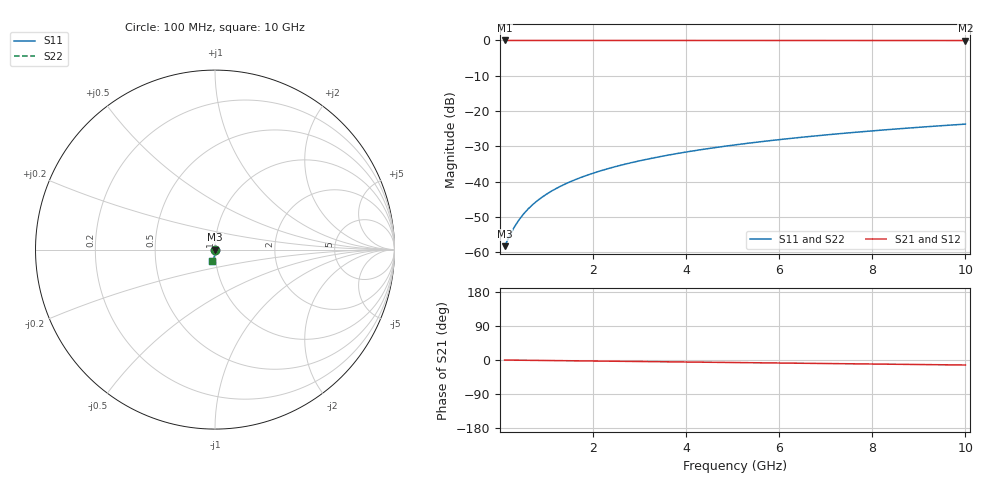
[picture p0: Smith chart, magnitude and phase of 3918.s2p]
# Hz S RI R 50.00
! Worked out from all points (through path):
!   100 points, 100 MHz to 10 GHz, reference 50 ohm
!   highest |S21| = -0.01 dB at 100 MHz (marker M1); lowest = 0.0 dB at 10 GHz (marker M2)
!   group delay of S21, straight-line fit = 3.68 ps
!   lowest |S11| = -58.2 dB at 100 MHz (marker M3), VSWR 1.00, Z = 50.1 - j0.0662 ohm
!   |S11| at or under -10 dB: start of sweep to end of sweep
!   |S22| runs from -58.2 to -23.7 dB; largest |S21 - S12| = 0
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1e8  0.00103 -0.000661  0.999 -0.00231  0.999 -0.00231  0.00103 -0.000661
2e8  0.00103 -0.00132  0.9989 -0.00462  0.9989 -0.00462  0.00103 -0.00132
3e8  0.00103 -0.00198  0.9989 -0.00693  0.9989 -0.00693  0.00103 -0.00198
4e8  0.00102 -0.00264  0.9989 -0.00923  0.9989 -0.00923  0.00102 -0.00264
5e8  0.00101 -0.0033  0.9989 -0.0115  0.9989 -0.0115  0.00101 -0.0033
6e8  0.000995 -0.00396  0.9988 -0.0138  0.9988 -0.0138  0.000995 -0.00396
7e8  0.000976 -0.00463  0.9988 -0.0162  0.9988 -0.0162  0.000976 -0.00463
9e8  0.00093 -0.00595  0.9987 -0.0208  0.9987 -0.0208  0.00093 -0.00595
1e9  0.000902 -0.00661  0.9986 -0.0231  0.9986 -0.0231  0.000902 -0.00661
1.2e9  0.000837 -0.00793  0.9985 -0.0277  0.9985 -0.0277  0.000837 -0.00793
1.5e9  0.000715 -0.00991  0.9982 -0.0346  0.9982 -0.0346  0.000715 -0.00991
1.8e9  0.000565 -0.0119  0.998 -0.0415  0.998 -0.0415  0.000565 -0.0119
2.1e9  0.000388 -0.0139  0.9976 -0.0485  0.9976 -0.0485  0.000388 -0.0139
2.5e9  0.000108 -0.0165  0.9971 -0.0577  0.9971 -0.0577  0.000108 -0.0165
2.9e9  -0.000221 -0.0191  0.9964 -0.0669  0.9964 -0.0669  -0.000221 -0.0191
3.4e9  -0.0007 -0.0224  0.9955 -0.0784  0.9955 -0.0784  -0.0007 -0.0224
4.2e9  -0.00162 -0.0276  0.9937 -0.0968  0.9937 -0.0968  -0.00162 -0.0276
5.1e9  -0.00289 -0.0334  0.9913 -0.1174  0.9913 -0.1174  -0.00289 -0.0334
5.9e9  -0.00422 -0.0386  0.9887 -0.1357  0.9887 -0.1357  -0.00422 -0.0386
6.7e9  -0.00575 -0.0436  0.9858 -0.154  0.9858 -0.154  -0.00575 -0.0436
8.4e9  -0.00959 -0.0542  0.9784 -0.1925  0.9784 -0.1925  -0.00959 -0.0542
1e10  -0.014 -0.0639  0.97 -0.2284  0.97 -0.2284  -0.014 -0.0639
